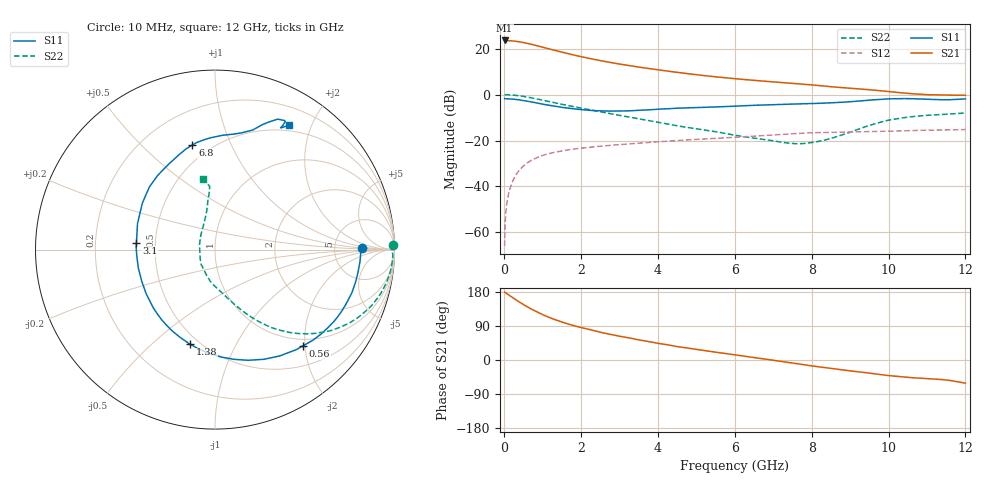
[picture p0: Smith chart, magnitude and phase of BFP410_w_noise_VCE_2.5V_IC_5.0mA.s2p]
! Infineon Technologies  Discrete & RF Semiconductors
! BFP410
! VCE =  2.5 V,  IC =  5.0 mA
! Common Emitter S-Parameters:  Nov 2015
# GHz  S  MA  R  50
!  f  S11  S21  S12  S22
! GHz  MAG  ANG  MAG  ANG  MAG  ANG  MAG  ANG
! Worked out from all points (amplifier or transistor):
!   243 points, 10 MHz to 12 GHz, reference 50 ohm
!   highest |S21| = 23.6 dB at 10 MHz (marker M1)
!   |S21| within 3 dB of that: start of sweep to 1.02 GHz
!   unconditionally stable (mu >= 1): 3.084 GHz to end of sweep
!   at 240 MHz: K = 0.10, MSG = 30.2 dB, |S12| = -37.0 dB
!   at 1.84 GHz: K = 0.63, MSG = 20.4 dB, |S12| = -23.7 dB
!   at 12 GHz: K = 1.07, MAG = 5.8 dB, |S12| = -15.2 dB
!   lowest NFmin = 1.00 dB at 900 MHz
!   S11 on the Smith chart (normalised r, x): 10 MHz: 9.86, +0.67; 560 MHz: 0.86, -1.96; 1.38 GHz: 0.45, -0.67; 3.1 GHz: 0.39, +0.04; 6.8 GHz: 0.40, +0.72; 12 GHz: 0.43, +1.67
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0.01  0.8166 0.8  15.08 179.3  0.0005 85.9  0.9917 1.6
0.025  0.812 -1.6  15 178.0  0.0016 86.8  0.9861 -0.3
0.07  0.8091 -5.9  14.93 174.7  0.0044 86.3  0.9904 -2.8
0.2  0.7997 -17.4  14.77 166.0  0.0118 81.2  0.9793 -8.9
0.3  0.7847 -26.0  14.46 159.1  0.0176 77.3  0.9621 -13.3
0.44  0.7568 -37.8  13.87 150.1  0.025 71.6  0.9296 -19.2
0.56  0.7265 -47.6  13.24 142.6  0.0307 67.2  0.8948 -23.8
0.7  0.6934 -58.7  12.5 134.6  0.0368 62.6  0.8518 -28.8
0.9  0.6435 -73.4  11.35 124.3  0.0441 56.8  0.7872 -35.0
1.16  0.5853 -90.9  9.95 112.8  0.0518 50.8  0.7056 -41.6
1.38  0.5449 -104.6  8.887 104.4  0.0569 46.7  0.644 -46.3
1.66  0.5057 -120.2  7.778 95.1  0.0624 42.6  0.577 -51.1
2.02  0.4693 -138.2  6.625 85.1  0.0684 38.6  0.5062 -56.0
2.6  0.4402 -165.5  5.289 71.0  0.0764 33.3  0.4073 -63.2
3.1  0.4395 175.0  4.477 61.0  0.0826 29.9  0.3416 -68.7
4.1  0.484 145.1  3.373 42.5  0.0949 24.1  0.2409 -81.4
5  0.5228 127.5  2.703 27.8  0.1056 18.9  0.1804 -98.0
6.1  0.564 111.1  2.182 12.2  0.1187 12.8  0.1262 -120.2
6.8  0.5961 102.2  1.947 2.2  0.1288 8.6  0.1037 -140.8
8.2  0.6455 83.1  1.565 -18.2  0.1484 -3.5  0.0961 151.1
10.2  0.8115 63.0  1.121 -42.9  0.1606 -17.2  0.2957 97.0
12  0.8048 59.4  0.965 -61.1  0.1731 -31.6  0.3977 99.9
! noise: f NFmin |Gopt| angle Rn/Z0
0.45  1.02  0.27  4  0.25
0.9  1  0.24  16  0.19
1.8  1.16  0.15  54  0.17
2.4  1.16  0.15  52  0.2
5.5  2.1  0.32  -125  0.21
10  3.4  0.67  -52  1.79
